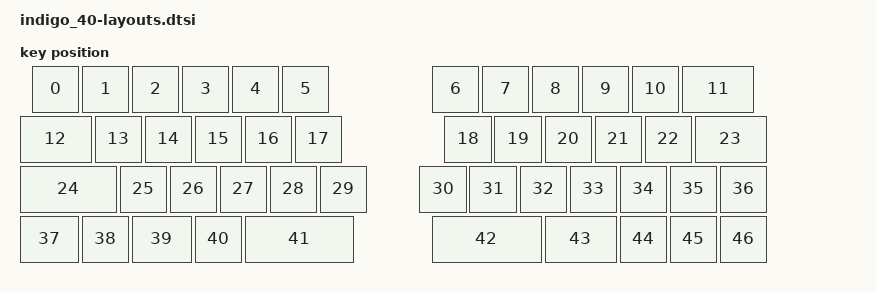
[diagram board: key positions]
#include <physical_layouts.dtsi>
// https://zmk-physical-layout-converter.streamlit.app/
// https://zmk-layout-helper.netlify.app/

/ {
    physical_layout0: physical_layout_0 {
        compatible = "zmk,physical-layout";
        display-name = "Default Layout";

        kscan = <&kscan0>;
        transform = <&matrix_transform0>;

        keys  //                     w   h    x    y     rot    rx    ry
            = <&key_physical_attrs 100 100   25    0       0     0     0>
            , <&key_physical_attrs 100 100  125    0       0     0     0>
            , <&key_physical_attrs 100 100  225    0       0     0     0>
            , <&key_physical_attrs 100 100  325    0       0     0     0>
            , <&key_physical_attrs 100 100  425    0       0     0     0>
            , <&key_physical_attrs 100 100  525    0       0     0     0>
            , <&key_physical_attrs 100 100  825    0       0     0     0>
            , <&key_physical_attrs 100 100  925    0       0     0     0>
            , <&key_physical_attrs 100 100 1025    0       0     0     0>
            , <&key_physical_attrs 100 100 1125    0       0     0     0>
            , <&key_physical_attrs 100 100 1225    0       0     0     0>
            , <&key_physical_attrs 150 100 1325    0       0     0     0>
            , <&key_physical_attrs 150 100    0  100       0     0     0>
            , <&key_physical_attrs 100 100  150  100       0     0     0>
            , <&key_physical_attrs 100 100  250  100       0     0     0>
            , <&key_physical_attrs 100 100  350  100       0     0     0>
            , <&key_physical_attrs 100 100  450  100       0     0     0>
            , <&key_physical_attrs 100 100  550  100       0     0     0>
            , <&key_physical_attrs 100 100  850  100       0     0     0>
            , <&key_physical_attrs 100 100  950  100       0     0     0>
            , <&key_physical_attrs 100 100 1050  100       0     0     0>
            , <&key_physical_attrs 100 100 1150  100       0     0     0>
            , <&key_physical_attrs 100 100 1250  100       0     0     0>
            , <&key_physical_attrs 150 100 1350  100       0     0     0>
            , <&key_physical_attrs 200 100    0  200       0     0     0>
            , <&key_physical_attrs 100 100  200  200       0     0     0>
            , <&key_physical_attrs 100 100  300  200       0     0     0>
            , <&key_physical_attrs 100 100  400  200       0     0     0>
            , <&key_physical_attrs 100 100  500  200       0     0     0>
            , <&key_physical_attrs 100 100  600  200       0     0     0>
            , <&key_physical_attrs 100 100  800  200       0     0     0>
            , <&key_physical_attrs 100 100  900  200       0     0     0>
            , <&key_physical_attrs 100 100 1000  200       0     0     0>
            , <&key_physical_attrs 100 100 1100  200       0     0     0>
            , <&key_physical_attrs 100 100 1200  200       0     0     0>
            , <&key_physical_attrs 100 100 1300  200       0     0     0>
            , <&key_physical_attrs 100 100 1400  200       0     0     0>
            , <&key_physical_attrs 125 100    0  300       0     0     0>
            , <&key_physical_attrs 100 100  125  300       0     0     0>
            , <&key_physical_attrs 125 100  225  300       0     0     0>
            , <&key_physical_attrs 100 100  350  300       0     0     0>
            , <&key_physical_attrs 225 100  450  300       0     0     0>
            , <&key_physical_attrs 225 100  825  300       0     0     0>
            , <&key_physical_attrs 150 100 1050  300       0     0     0>
            , <&key_physical_attrs 100 100 1200  300       0     0     0>
            , <&key_physical_attrs 100 100 1300  300       0     0     0>
            , <&key_physical_attrs 100 100 1400  300       0     0     0>
            ;
    };
};
